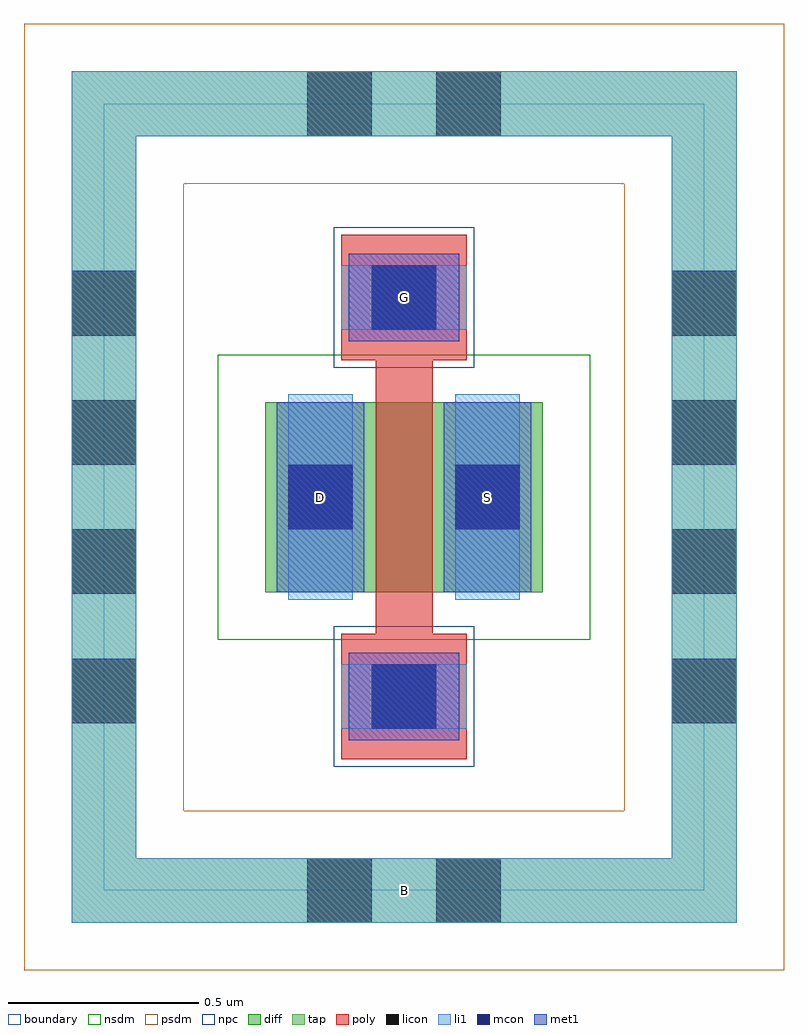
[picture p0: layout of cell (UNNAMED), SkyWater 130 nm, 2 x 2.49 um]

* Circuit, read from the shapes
.subckt (UNNAMED) B D G S
XM1 S G D B sky130_fd_pr__nfet_01v8 w=0.5 l=0.15
.ends

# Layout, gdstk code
import gdstk
lib = gdstk.Library(unit=1e-6, precision=1e-09)
def R(c, l, rs):  # rectangles x0, y0, x1, y1
    for r in rs: c.add(gdstk.rectangle(r[:2], r[2:], *l))
def A(c, l, x, y, w, h, nx, ny, dx, dy):  # array of equal rectangles
    R(c, l, [(x+i*dx, y+j*dy, x+i*dx+w, y+j*dy+h) for i in range(nx) for j in range(ny)])
diff = (65, 20)
tap = (65, 44)
poly = (66, 20)
licon = (66, 44)
li1 = (67, 20)
mcon = (67, 44)
met1 = (68, 20)
nsdm = (93, 44)
psdm = (94, 20)
npc = (95, 20)
boundary = (235, 4)

c__unnamed_ = lib.new_cell('(UNNAMED)')
R(c__unnamed_, diff, [(-0.365,-0.25,0.365,0.25)])
R(c__unnamed_, tap, [(-0.875,-1.12,0.875,-0.95), (-0.875,-0.95,-0.705,0.95), (0.705,-0.95,0.875,0.95), (-0.875,0.95,0.875,1.12)])
R(c__unnamed_, poly, [(-0.165,-0.69,0.165,-0.36), (-0.075,-0.36,0.075,0.36), (-0.165,0.36,0.165,0.69)])
A(c__unnamed_, licon, -0.875, -0.595, 0.17, 0.17, 1, 4, 0, 0.34)
A(c__unnamed_, licon, 0.705, -0.595, 0.17, 0.17, 1, 4, 0, 0.34)
R(c__unnamed_, licon, [(-0.255,-1.12,-0.085,-0.95), (0.085,-1.12,0.255,-0.95), (-0.085,-0.61,0.085,-0.44), (-0.305,-0.085,-0.135,0.085), (0.135,-0.085,0.305,0.085), (-0.085,0.44,0.085,0.61), (-0.255,0.95,-0.085,1.12), (0.085,0.95,0.255,1.12)])
R(c__unnamed_, li1, [(-0.875,-1.12,0.875,-0.95), (-0.875,-0.95,-0.705,0.95), (0.705,-0.95,0.875,0.95), (-0.165,-0.61,0.165,-0.44), (-0.305,-0.27,-0.135,0.27), (0.135,-0.27,0.305,0.27), (-0.165,0.44,0.165,0.61), (-0.875,0.95,0.875,1.12)])
R(c__unnamed_, mcon, [(-0.085,-0.61,0.085,-0.44), (-0.305,-0.085,-0.135,0.085), (0.135,-0.085,0.305,0.085), (-0.085,0.44,0.085,0.61)])
R(c__unnamed_, met1, [(-0.145,-0.64,0.145,-0.41), (-0.335,-0.25,-0.105,0.25), (0.105,-0.25,0.335,0.25), (-0.145,0.41,0.145,0.64)])
R(c__unnamed_, nsdm, [(-0.49,-0.375,0.49,0.375)])
R(c__unnamed_, psdm, [(-1,-1.245,1,-0.825), (-1,-0.825,-0.58,0.825), (0.58,-0.825,1,0.825), (-1,0.825,1,1.245)])
R(c__unnamed_, npc, [(-0.185,-0.71,0.185,-0.34), (-0.185,0.34,0.185,0.71)])
R(c__unnamed_, boundary, [(-0.79,-1.035,0.79,1.035)])
c__unnamed_.add(gdstk.Label('B', (0,-1.035), layer=67, texttype=5))
c__unnamed_.add(gdstk.Label('D', (-0.22,0), layer=67, texttype=5))
c__unnamed_.add(gdstk.Label('S', (0.22,0), layer=67, texttype=5))
c__unnamed_.add(gdstk.Label('G', (0,0.525), layer=67, texttype=5))

lib.write_gds('_UNNAMED_.gds')
